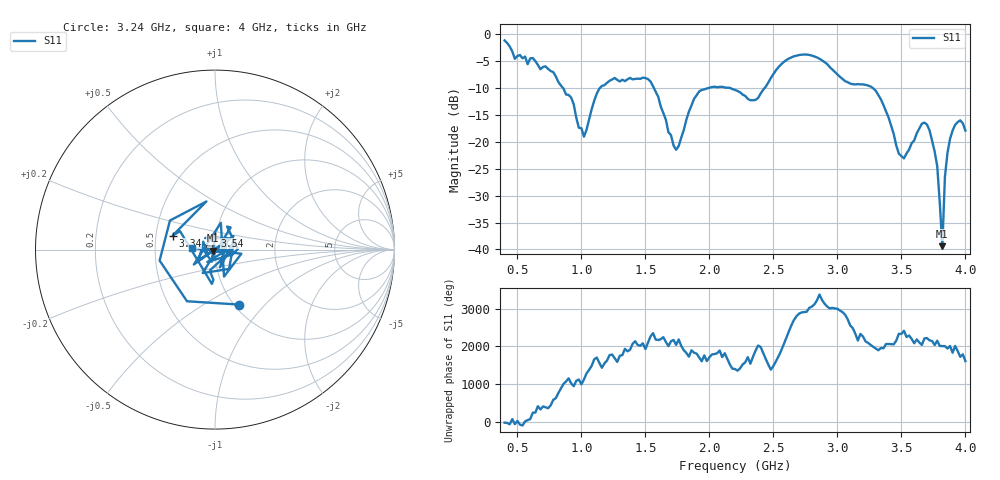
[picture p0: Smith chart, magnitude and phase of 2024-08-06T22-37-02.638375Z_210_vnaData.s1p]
!Created with skrf (http://scikit-rf.org).
# Hz S RI R 50.0
!freq ReS11 ImS11
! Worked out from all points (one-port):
!   181 points, 400 MHz to 4 GHz, reference 50 ohm
!   lowest |S11| = -39.4 dB at 3.82 GHz (marker M1), VSWR 1.02, Z = 49.1 - j0.533 ohm
!   |S11| at or under -10 dB: 857.6 MHz to 1.144 GHz (286.1 MHz wide, 28.6 % of centre); 1.567 GHz to 1.989 GHz (422.8 MHz wide, 23.8 % of centre); 3.277 GHz to end of sweep (the widest 3 of 4)
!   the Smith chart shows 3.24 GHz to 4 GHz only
!   S11 on the Smith chart (normalised r, x): 3.24 GHz: 1.05, -0.73; 3.34 GHz: 0.61, +0.10; 3.54 GHz: 0.99, +0.16; 4 GHz: 0.77, +0.01
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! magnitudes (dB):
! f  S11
! 400 MHz  -1.1
! 480 MHz  -4.5
! 860 MHz  -10.1
! 1.02 GHz  -19.0
! 1.14 GHz  -10.1
! 1.3 GHz  -8.8
! 1.54 GHz  -8.8
! 1.72 GHz  -20.7
! 1.76 GHz  -20.8
! 1.92 GHz  -10.6
! 2.2 GHz  -10.3
! 2.36 GHz  -12.2
! 2.66 GHz  -4.1
! 2.84 GHz  -4.3
! 3.1 GHz  -9.2
! 3.24 GHz  -9.5
! 3.34 GHz  -12.1
! 3.48 GHz  -22.2
! 3.54 GHz  -22.1
! 3.56 GHz  -21.4
! 3.66 GHz  -16.6
! 3.72 GHz  -17.9
! 3.78 GHz  -24.5
! 3.82 GHz  -39.4
! 3.84 GHz  -26.5
! 3.88 GHz  -19.4
! 3.96 GHz  -16.0
! 4 GHz  -17.9
